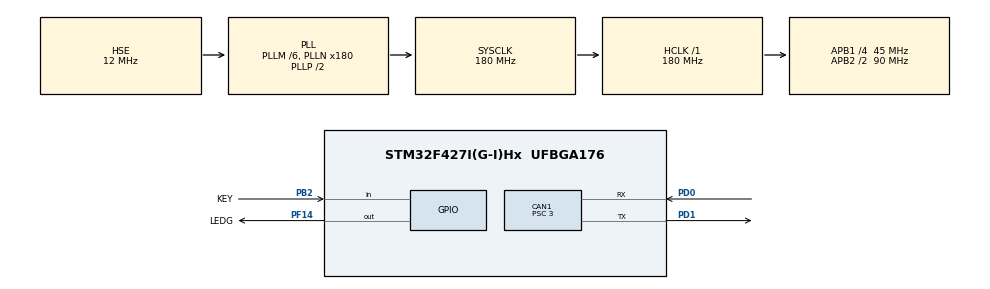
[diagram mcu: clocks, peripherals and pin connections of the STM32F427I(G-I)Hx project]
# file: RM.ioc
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CAN1.BS1=CAN_BS1_10TQ
CAN1.BS2=CAN_BS2_4TQ
CAN1.CalculateBaudRate=1000000
CAN1.CalculateTimeBit=1000
CAN1.CalculateTimeQuantum=66.66666666666666
CAN1.Prescaler=3
Mcu.Family=STM32F4
Mcu.Name=STM32F427I(G-I)Hx
Mcu.Package=UFBGA176
NVIC.CAN1_RX0_IRQn=true\:0\:0\:false\:false\:true\:true\:true\:true
NVIC.CAN1_TX_IRQn=true\:0\:0\:false\:false\:true\:true\:true\:true
NVIC.PriorityGroup=NVIC_PRIORITYGROUP_4
NVIC.TIM6_DAC_IRQn=true\:0\:0\:false\:false\:true\:true\:true\:true
PA13.Mode=Serial_Wire
PA13.Signal=SYS_JTMS-SWDIO
PA14.Mode=Serial_Wire
PA14.Signal=SYS_JTCK-SWCLK
PB2/BOOT1.GPIO_Label=KEY
PB2/BOOT1.GPIO_PuPd=GPIO_PULLDOWN
PB2/BOOT1.Signal=GPIO_Input
PD0.Mode=CAN_Activate
PD0.Signal=CAN1_RX
PD1.Mode=CAN_Activate
PD1.Signal=CAN1_TX
PF14.GPIO_Label=LEDG
PF14.Signal=GPIO_Output
PH0/OSC_IN.Mode=HSE-External-Oscillator
PH0/OSC_IN.Signal=RCC_OSC_IN
PH1/OSC_OUT.Mode=HSE-External-Oscillator
PH1/OSC_OUT.Signal=RCC_OSC_OUT
ProjectManager.HeapSize=0x200
ProjectManager.StackSize=0x400
ProjectManager.TargetToolchain=MDK-ARM V5.32
RCC.48MHZClocksFreq_Value=90000000
RCC.AHBFreq_Value=180000000
RCC.APB1CLKDivider=RCC_HCLK_DIV4
RCC.APB1Freq_Value=45000000
RCC.APB1TimFreq_Value=90000000
RCC.APB2CLKDivider=RCC_HCLK_DIV2
RCC.APB2Freq_Value=90000000
RCC.APB2TimFreq_Value=180000000
RCC.CortexFreq_Value=180000000
RCC.HCLKFreq_Value=180000000
RCC.HSE_VALUE=12000000
RCC.HSI_VALUE=16000000
RCC.LSE_VALUE=32768
RCC.PLLM=6
RCC.PLLN=180
RCC.PLLSourceVirtual=RCC_PLLSOURCE_HSE
RCC.SYSCLKFreq_VALUE=180000000
RCC.SYSCLKSource=RCC_SYSCLKSOURCE_PLLCLK
RCC.VCOOutputFreq_Value=360000000
TIM6.Period=3000 - 1
TIM6.Prescaler=15 - 1
VP_TIM6_VS_ClockSourceINT.Mode=Enable_Timer
board=custom

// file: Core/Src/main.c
/* USER CODE BEGIN Header */
/**
  ******************************************************************************
  * @file           : main.c
  * @brief          : Main program body
  ******************************************************************************
  * @attention
  *
  * Copyright (c) 2025 STMicroelectronics.
  * All rights reserved.
  *
  * This software is licensed under terms that can be found in the LICENSE file
  * in the root directory of this software component.
  * If no LICENSE file comes with this software, it is provided AS-IS.
  *
  ******************************************************************************
  */
/* USER CODE END Header */
#include "main.h"
#include "can.h"
#include "tim.h"
#include "gpio.h"

/* USER CODE BEGIN PV */

// 有关CAN通信
CAN_RxHeaderTypeDef rx_header;
CAN_TxHeaderTypeDef tx_header = {
  .StdId = 0x200,
  .ExtId = 0,
  .IDE = CAN_ID_STD,
  .RTR = CAN_RTR_DATA,
  .DLC = 8,
  .TransmitGlobalTime = DISABLE
};
CAN_FilterTypeDef filter_config = {
  .FilterIdHigh = 0x0000,
  .FilterIdLow = 0x0000,
  .FilterMaskIdHigh = 0x0000,
  .FilterMaskIdLow = 0x0000,
  .FilterFIFOAssignment = CAN_FilterFIFO0,
  .FilterBank = 0,
  .FilterMode = CAN_FILTERMODE_IDMASK,
  .FilterScale = CAN_FILTERSCALE_32BIT,
  .FilterActivation = ENABLE
};

uint8_t rx_data[8];
uint8_t tx_data[8];
uint32_t can_tx_mailbox;

// 有关按键中断与电机控制标志
int stop_flag;
int has_switched;
GPIO_PinState cur_key_state;
GPIO_PinState pre_key_state;
/* USER CODE END PV */

void SystemClock_Config(void);

int main(void)
{

  /* MCU Configuration--------------------------------------------------------*/

  /* Reset of all peripherals, Initializes the Flash interface and the Systick. */
  HAL_Init();

  /* Configure the system clock */
  SystemClock_Config();

  /* Initialize all configured peripherals */
  MX_GPIO_Init();
  MX_CAN1_Init();
  MX_TIM6_Init();
  /* USER CODE BEGIN 2 */
  HAL_GPIO_TogglePin(LEDG_GPIO_Port, LEDG_Pin);
  HAL_Delay(1000);
  HAL_GPIO_TogglePin(LEDG_GPIO_Port, LEDG_Pin);
  HAL_Delay(1000);
  HAL_GPIO_TogglePin(LEDG_GPIO_Port, LEDG_Pin);
  HAL_Delay(1000);

  HAL_CAN_ConfigFilter(&hcan1, &filter_config);
  HAL_CAN_Start(&hcan1);
  HAL_CAN_ActivateNotification(&hcan1, CAN_IT_RX_FIFO0_MSG_PENDING);
  HAL_TIM_Base_Start_IT(&htim6);

  // tx_data[2] = 0x00;
  // tx_data[3] = 0xFF;

    stop_flag = 1;
    has_switched = 0;
    pre_key_state = HAL_GPIO_ReadPin(KEY_GPIO_Port, KEY_Pin);
  /* USER CODE END 2 */

  /* Infinite loop */
  while (1)
  {

    /* USER CODE BEGIN 3 */
      cur_key_state = HAL_GPIO_ReadPin(KEY_GPIO_Port, KEY_Pin);
      if (cur_key_state == GPIO_PIN_SET) {
          if (has_switched == 1) {continue;}
          else if (pre_key_state == GPIO_PIN_RESET) {
              pre_key_state = GPIO_PIN_SET;
              continue;
          }

          stop_flag = 1 - stop_flag;
          has_switched = 1;
      }
      else {
          if (pre_key_state == GPIO_PIN_SET) {
              pre_key_state = GPIO_PIN_RESET;
              continue;
          }
          has_switched = 0;
      }
  }
  /* USER CODE END 3 */
}

void SystemClock_Config(void)
{
  RCC_OscInitTypeDef RCC_OscInitStruct = {0};
  RCC_ClkInitTypeDef RCC_ClkInitStruct = {0};

  /** Configure the main internal regulator output voltage
  */
  __HAL_RCC_PWR_CLK_ENABLE();
  __HAL_PWR_VOLTAGESCALING_CONFIG(PWR_REGULATOR_VOLTAGE_SCALE1);

  /** Initializes the RCC Oscillators according to the specified parameters
  * in the RCC_OscInitTypeDef structure.
  */
  RCC_OscInitStruct.OscillatorType = RCC_OSCILLATORTYPE_HSE;
  RCC_OscInitStruct.HSEState = RCC_HSE_ON;
  RCC_OscInitStruct.PLL.PLLState = RCC_PLL_ON;
  RCC_OscInitStruct.PLL.PLLSource = RCC_PLLSOURCE_HSE;
  RCC_OscInitStruct.PLL.PLLM = 6;
  RCC_OscInitStruct.PLL.PLLN = 180;
  RCC_OscInitStruct.PLL.PLLP = RCC_PLLP_DIV2;
  RCC_OscInitStruct.PLL.PLLQ = 4;
  if (HAL_RCC_OscConfig(&RCC_OscInitStruct) != HAL_OK)
  {
    Error_Handler();
  }

  /** Activate the Over-Drive mode
  */
  if (HAL_PWREx_EnableOverDrive() != HAL_OK)
  {
    Error_Handler();
  }

  /** Initializes the CPU, AHB and APB buses clocks
  */
  RCC_ClkInitStruct.ClockType = RCC_CLOCKTYPE_HCLK|RCC_CLOCKTYPE_SYSCLK
                              |RCC_CLOCKTYPE_PCLK1|RCC_CLOCKTYPE_PCLK2;
  RCC_ClkInitStruct.SYSCLKSource = RCC_SYSCLKSOURCE_PLLCLK;
  RCC_ClkInitStruct.AHBCLKDivider = RCC_SYSCLK_DIV1;
  RCC_ClkInitStruct.APB1CLKDivider = RCC_HCLK_DIV4;
  RCC_ClkInitStruct.APB2CLKDivider = RCC_HCLK_DIV2;

  if (HAL_RCC_ClockConfig(&RCC_ClkInitStruct, FLASH_LATENCY_5) != HAL_OK)
  {
    Error_Handler();
  }
}

void Error_Handler(void)
{
  __disable_irq();
  while (1)
  {
  }
}
